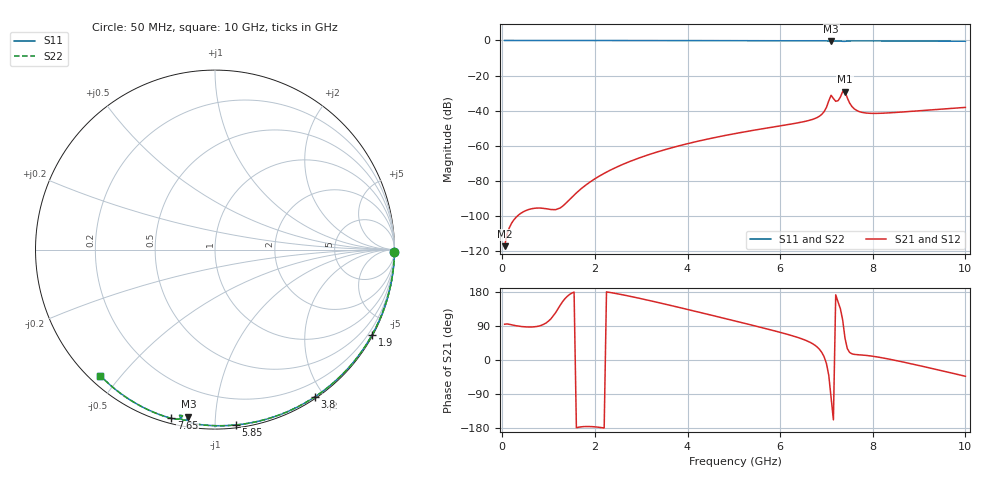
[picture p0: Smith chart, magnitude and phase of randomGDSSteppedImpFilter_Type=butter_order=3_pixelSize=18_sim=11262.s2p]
! freq	dB(S11)	phase(S11)	dB(S12)	phase(S12)
!  dB(S21)	phase(S21)	dB(S22)	phase(S22)
!S-par simulation data
#  GHz  S  DB  R 50
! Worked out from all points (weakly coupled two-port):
!   200 points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, 50 MHz to 10 GHz, reference 50 ohm
!   highest |S21| = -29.10 dB at 7.4 GHz (marker M1); lowest = -117.1 dB at 50 MHz (marker M2)
!   lowest |S11| = -0.5 dB at 7.1 GHz (marker M3), VSWR 33.45, Z = 2.58 - j42.6 ohm
!   |S11| at or under -10 dB: nowhere
!   |S22| runs from -0.5 to 0.0 dB; largest |S21 - S12| = 0
!   S11 on the Smith chart (normalised r, x): 50 MHz: open; 1.9 GHz: 0.03, -3.92; 3.8 GHz: 0.02, -1.89; 5.85 GHz: 0.02, -1.13; 7.65 GHz: 0.02, -0.77; 10 GHz: 0.03, -0.44
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0.05  -0.00 -0.8  -117.06 94.4  -117.06 94.4  -0.00 -0.8
1.75  -0.03 -26.4  -83.37 -175.8  -83.37 -175.8  -0.03 -26.4
1.9  -0.04 -28.6  -80.45 -175.6  -80.45 -175.6  -0.04 -28.6
2.55  -0.05 -38.1  -71.10 173.3  -71.10 173.3  -0.05 -38.1
3.4  -0.07 -50.3  -63.01 150.7  -63.01 150.7  -0.07 -50.3
3.8  -0.08 -55.8  -60.06 139.3  -60.06 139.3  -0.08 -55.9
5.05  -0.11 -72.8  -52.87 102.3  -52.87 102.3  -0.11 -72.8
5.85  -0.14 -83.2  -49.25 77.8  -49.25 77.8  -0.14 -83.2
6.7  -0.18 -94.1  -44.91 43.1  -44.91 43.1  -0.18 -94.1
6.85  -0.20 -96.1  -43.06 28.0  -43.06 28.0  -0.20 -96.1
6.95  -0.22 -97.6  -40.47 8.3  -40.47 8.3  -0.22 -97.6
7  -0.25 -98.5  -38.07 -9.4  -38.07 -9.4  -0.25 -98.5
7.1  -0.52 -99.1  -31.18 -100.7  -31.18 -100.7  -0.51 -99.1
7.2  -0.31 -99.6  -34.62 172.1  -34.62 172.1  -0.31 -99.7
7.25  -0.30 -100.5  -34.30 153.2  -34.30 153.2  -0.30 -100.6
7.35  -0.50 -102.0  -29.12 105.7  -29.12 105.7  -0.50 -102.1
7.4  -0.51 -101.0  -29.10 57.8  -29.10 57.8  -0.51 -101.1
7.5  -0.29 -102.3  -35.61 20.1  -35.61 20.1  -0.29 -102.4
7.65  -0.26 -104.6  -39.78 14.1  -39.78 14.1  -0.26 -104.6
7.9  -0.26 -107.8  -41.40 11.5  -41.40 11.5  -0.26 -107.8
8.35  -0.29 -113.2  -41.21 2.4  -41.21 2.4  -0.29 -113.2
10  -0.45 -132.2  -38.09 -42.9  -38.09 -42.9  -0.45 -132.3
